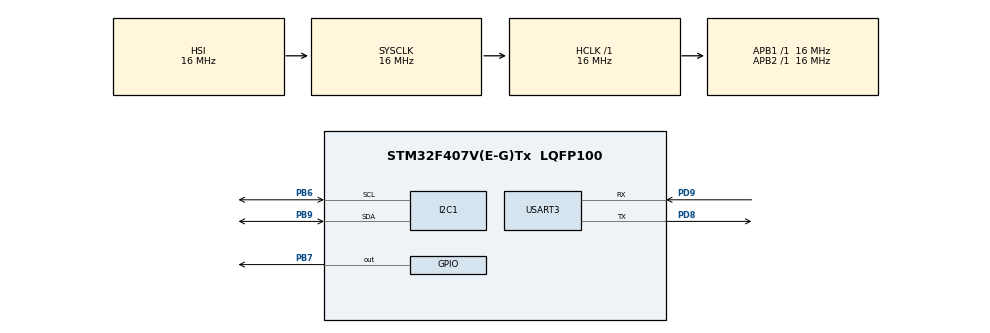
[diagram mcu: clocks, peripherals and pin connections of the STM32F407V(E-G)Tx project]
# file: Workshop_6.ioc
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Mcu.Family=STM32F4
Mcu.Name=STM32F407V(E-G)Tx
Mcu.Package=LQFP100
NVIC.PriorityGroup=NVIC_PRIORITYGROUP_4
PA13.Mode=Serial_Wire
PA13.Signal=SYS_JTMS-SWDIO
PA14.Mode=Serial_Wire
PA14.Signal=SYS_JTCK-SWCLK
PB6.Mode=I2C
PB6.Signal=I2C1_SCL
PB7.Signal=GPIO_Output
PB9.Mode=I2C
PB9.Signal=I2C1_SDA
PD8.Mode=Asynchronous
PD8.Signal=USART3_TX
PD9.Mode=Asynchronous
PD9.Signal=USART3_RX
ProjectManager.HeapSize=0x200
ProjectManager.StackSize=0x400
ProjectManager.TargetToolchain=STM32CubeIDE
RCC.AHBFreq_Value=16000000
RCC.APB1Freq_Value=16000000
RCC.APB2Freq_Value=16000000
RCC.CortexFreq_Value=16000000
RCC.HSE_VALUE=25000000
RCC.HSI_VALUE=16000000
RCC.LSE_VALUE=32768
RCC.SYSCLKFreq_VALUE=16000000
RCC.VCOOutputFreq_Value=192000000
USART3.VirtualMode=VM_ASYNC
board=custom

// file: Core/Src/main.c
/* USER CODE BEGIN Header */
/**
  ******************************************************************************
  * @file           : main.c
  * @brief          : Main program body
  ******************************************************************************
  * @attention
  *
  * <h2><center>&copy; Copyright (c) 2021 STMicroelectronics.
  * All rights reserved.</center></h2>
  *
  * This software component is licensed by ST under BSD 3-Clause license,
  * the "License"; You may not use this file except in compliance with the
  * License. You may obtain a copy of the License at:
  *                        opensource.org/licenses/BSD-3-Clause
  *
  ******************************************************************************
  */
/* USER CODE END Header */
#include "main.h"

/* USER CODE BEGIN Includes */
#include "i2clib.h"
/* USER CODE END Includes */

I2C_HandleTypeDef hi2c1;

UART_HandleTypeDef huart3;

void SystemClock_Config(void);
static void MX_GPIO_Init(void);
static void MX_I2C1_Init(void);
static void MX_USART3_UART_Init(void);

int main(void)
{

  /* MCU Configuration--------------------------------------------------------*/

  /* Reset of all peripherals, Initializes the Flash interface and the Systick. */
  HAL_Init();

  /* Configure the system clock */
  SystemClock_Config();

  /* Initialize all configured peripherals */
  MX_GPIO_Init();
  MX_I2C1_Init();
  MX_USART3_UART_Init();
  /* USER CODE BEGIN 2 */

  HAL_Delay(10);

  HAL_GPIO_WritePin(GPIOB, GPIO_PIN_7, GPIO_PIN_RESET);
  setFreq(200);

  uint8_t currentDuty = 50, count = 0;
  uint16_t currentFreq = 200;
  /* USER CODE END 2 */

  /* Infinite loop */
  /* USER CODE BEGIN WHILE */
  while (1)
  {
	uint8_t buffRX[1];
	HAL_StatusTypeDef  statusRX;

	statusRX =	HAL_UART_Receive (&huart3, (uint8_t *) buffRX, 1, 10);

	if (statusRX == HAL_OK){

		switch (buffRX[0]){

		case '0':
			turnOff();
			count++;
			if (count>1){
			setDuty(currentDuty);
			HAL_UART_Transmit (&huart3, (uint8_t *) "PWM signal is on\r\n", 16+2, 10);
			count = 0;
			}
			else HAL_UART_Transmit (&huart3, (uint8_t *) "PWM signal is off\r\n", 17+2, 10);
		break;

		case '1':
			currentFreq += 100;
			setFreq(currentFreq);
			HAL_UART_Transmit (&huart3, (uint8_t *) "PWM frequency increased by 100\r\n", 30+2, 10);
		break;

		case '2':
			currentFreq -= 100;
			setFreq(currentFreq);
			HAL_UART_Transmit (&huart3, (uint8_t *) "PWM frequency decreased by 100\r\n", 30+2, 10);
		break;

		case '3':
			currentDuty += 10;
			setDuty(currentDuty);
			HAL_UART_Transmit (&huart3, (uint8_t *) "PWM duty cycle increased by 10%\r\n", 31+2, 10);
		break;

		case '4':
			currentDuty -= 10;
			setDuty(currentDuty);
			HAL_UART_Transmit (&huart3, (uint8_t *) "PWM duty cycle decreased by 10%\r\n", 31+2, 10);
		break;

		}
	}

    /* USER CODE END WHILE */

  }
}

void SystemClock_Config(void)
{
  RCC_OscInitTypeDef RCC_OscInitStruct = {0};
  RCC_ClkInitTypeDef RCC_ClkInitStruct = {0};

  /** Configure the main internal regulator output voltage
  */
  __HAL_RCC_PWR_CLK_ENABLE();
  __HAL_PWR_VOLTAGESCALING_CONFIG(PWR_REGULATOR_VOLTAGE_SCALE1);
  /** Initializes the RCC Oscillators according to the specified parameters
  * in the RCC_OscInitTypeDef structure.
  */
  RCC_OscInitStruct.OscillatorType = RCC_OSCILLATORTYPE_HSI;
  RCC_OscInitStruct.HSIState = RCC_HSI_ON;
  RCC_OscInitStruct.HSICalibrationValue = RCC_HSICALIBRATION_DEFAULT;
  RCC_OscInitStruct.PLL.PLLState = RCC_PLL_NONE;
  if (HAL_RCC_OscConfig(&RCC_OscInitStruct) != HAL_OK)
  {
    Error_Handler();
  }
  /** Initializes the CPU, AHB and APB buses clocks
  */
  RCC_ClkInitStruct.ClockType = RCC_CLOCKTYPE_HCLK|RCC_CLOCKTYPE_SYSCLK
                              |RCC_CLOCKTYPE_PCLK1|RCC_CLOCKTYPE_PCLK2;
  RCC_ClkInitStruct.SYSCLKSource = RCC_SYSCLKSOURCE_HSI;
  RCC_ClkInitStruct.AHBCLKDivider = RCC_SYSCLK_DIV1;
  RCC_ClkInitStruct.APB1CLKDivider = RCC_HCLK_DIV1;
  RCC_ClkInitStruct.APB2CLKDivider = RCC_HCLK_DIV1;

  if (HAL_RCC_ClockConfig(&RCC_ClkInitStruct, FLASH_LATENCY_0) != HAL_OK)
  {
    Error_Handler();
  }
}

static void MX_I2C1_Init(void)
{

  hi2c1.Instance = I2C1;
  hi2c1.Init.ClockSpeed = 100000;
  hi2c1.Init.DutyCycle = I2C_DUTYCYCLE_2;
  hi2c1.Init.OwnAddress1 = 0;
  hi2c1.Init.AddressingMode = I2C_ADDRESSINGMODE_7BIT;
  hi2c1.Init.DualAddressMode = I2C_DUALADDRESS_DISABLE;
  hi2c1.Init.OwnAddress2 = 0;
  hi2c1.Init.GeneralCallMode = I2C_GENERALCALL_DISABLE;
  hi2c1.Init.NoStretchMode = I2C_NOSTRETCH_DISABLE;
  if (HAL_I2C_Init(&hi2c1) != HAL_OK)
  {
    Error_Handler();
  }

}

static void MX_USART3_UART_Init(void)
{

  huart3.Instance = USART3;
  huart3.Init.BaudRate = 115200;
  huart3.Init.WordLength = UART_WORDLENGTH_8B;
  huart3.Init.StopBits = UART_STOPBITS_1;
  huart3.Init.Parity = UART_PARITY_NONE;
  huart3.Init.Mode = UART_MODE_TX_RX;
  huart3.Init.HwFlowCtl = UART_HWCONTROL_NONE;
  huart3.Init.OverSampling = UART_OVERSAMPLING_16;
  if (HAL_UART_Init(&huart3) != HAL_OK)
  {
    Error_Handler();
  }

}

static void MX_GPIO_Init(void)
{
  GPIO_InitTypeDef GPIO_InitStruct = {0};

  /* GPIO Ports Clock Enable */
  __HAL_RCC_GPIOD_CLK_ENABLE();
  __HAL_RCC_GPIOA_CLK_ENABLE();
  __HAL_RCC_GPIOB_CLK_ENABLE();

  /*Configure GPIO pin Output Level */
  HAL_GPIO_WritePin(GPIOB, GPIO_PIN_7, GPIO_PIN_RESET);

  /*Configure GPIO pin : PB7 */
  GPIO_InitStruct.Pin = GPIO_PIN_7;
  GPIO_InitStruct.Mode = GPIO_MODE_OUTPUT_PP;
  GPIO_InitStruct.Pull = GPIO_NOPULL;
  GPIO_InitStruct.Speed = GPIO_SPEED_FREQ_LOW;
  HAL_GPIO_Init(GPIOB, &GPIO_InitStruct);

}

void Error_Handler(void)
{
  __disable_irq();
  while (1)
  {
  }
}

/************************ (C) COPYRIGHT STMicroelectronics *****END OF FILE****/
